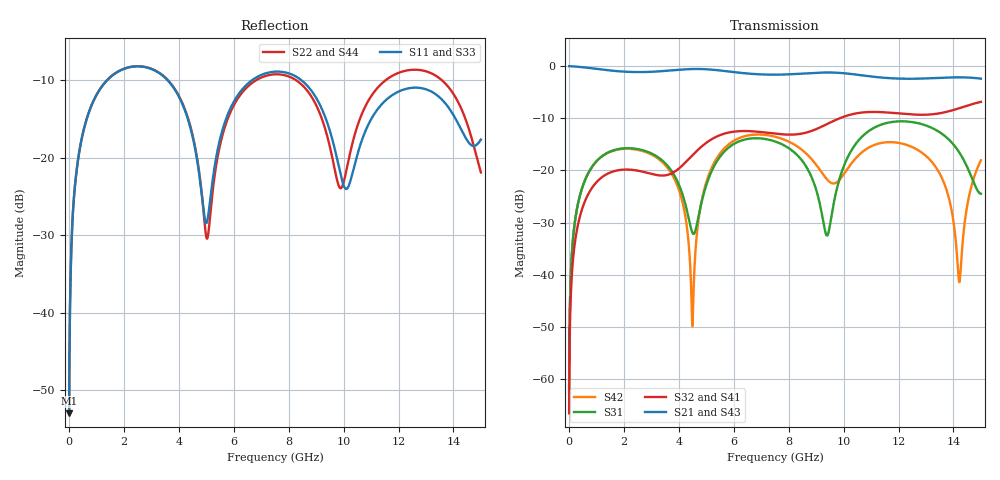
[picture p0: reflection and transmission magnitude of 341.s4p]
! Created with skrf 1.8.0 (http://scikit-rf.org).
# GHz S RI R 50.0
!freq ReS11 ImS11 ReS12 ImS12 ReS13 ImS13
! ReS14 ImS14
! ReS21 ImS21 ReS22 ImS22 ReS23 ImS23
! ReS24 ImS24
! ReS31 ImS31 ReS32 ImS32 ReS33 ImS33
! ReS34 ImS34
! ReS41 ImS41 ReS42 ImS42 ReS43 ImS43
! ReS44 ImS44
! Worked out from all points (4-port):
!   2499 points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, 5 MHz to 15 GHz, reference 50 ohm
!   strongest paths, dB at 5 MHz, 3.476 GHz, 7.19 GHz, 11.1 GHz, 15 GHz:
!     S21: 0.0, -0.9, -1.6, -2.0, -2.4
!     S43: 0.0, -0.9, -1.6, -2.0, -2.4
!     S32: -66.5, -21.0, -12.8, -8.8, -6.9
!     S41: -66.5, -21.0, -12.8, -8.8, -6.9
!     S31: -62.5, -18.5, -14.0, -11.9, -24.5
!     S42: -62.5, -18.8, -13.2, -15.2, -18.1
!   lowest |S11| = -53.0 dB at 5 MHz (marker M1), VSWR 1.00, Z = 50.2 + j0.136 ohm
!   |S11| at or under -10 dB: start of sweep to 1.38 GHz; 3.599 GHz to 6.654 GHz (3.055 GHz wide, 59.6 % of centre); 8.477 GHz to end of sweep
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0.005  0.00179 0.00135  0.9982 -0.00348  9.16e-05 0.000746  -8.87e-05 -0.000462
       0.9982 -0.00348  0.00179 0.00135  -8.87e-05 -0.000462  9.16e-05 0.000746
       9.16e-05 0.000746  -8.87e-05 -0.000462  0.00179 0.00135  0.9982 -0.00348
       -8.87e-05 -0.000462  9.16e-05 0.000746  0.9982 -0.00348  0.00179 0.00135
1.519383  0.2886 0.1678  0.5038 -0.7536  0.1422 0.0555  -0.0959 0.0017
          0.5038 -0.7536  0.2898 0.1669  -0.096 0.00174  0.1389 0.0605
          0.1422 0.0555  -0.096 0.00174  0.2886 0.1678  0.5038 -0.7536
          -0.0959 0.0017  0.1389 0.0605  0.5038 -0.7536  0.2898 0.1668
4.495455  0.0738 -0.1173  -0.8581 -0.3766  -0.0225 -0.0114  -0.0521 0.1299
          -0.8581 -0.3766  0.0685 -0.1243  -0.0519 0.13  0.00311 0.000795
          -0.0225 -0.0114  -0.0519 0.13  0.0724 -0.1167  -0.8584 -0.3763
          -0.0521 0.1299  0.00311 0.000795  -0.8584 -0.3763  0.069 -0.1229
5.802418  0.1374 0.1378  -0.8033 0.3797  0.1028 0.1286  0.1311 0.1889
          -0.8033 0.3797  0.1242 0.1346  0.1317 0.189  0.1332 0.1159
          0.1028 0.1286  0.1317 0.189  0.1364 0.1404  -0.8028 0.38
          0.1311 0.1889  0.1332 0.1159  -0.8028 0.38  0.1271 0.1354
10.10421  0.0626 -0.00654  0.8438 0.1  0.0749 0.1014  0.0288 -0.3326
          0.8438 0.1  0.0709 0.0441  0.0271 -0.3327  -0.0519 0.0857
          0.0749 0.1014  0.0271 -0.3327  0.0621 -0.00929  0.8436 0.1019
          0.0288 -0.3326  -0.0519 0.0857  0.8436 0.1019  0.0722 0.0414
14.21217  0.1509 -0.0578  -0.5257 -0.5775  -0.054 -0.1388  -0.2844 0.2731
          -0.5257 -0.5775  0.1545 -0.1593  -0.2816 0.277  0.00773 0.00359
          -0.054 -0.1388  -0.2816 0.277  0.1591 -0.0537  -0.5221 -0.5794
          -0.2844 0.2731  0.00773 0.00359  -0.5221 -0.5794  0.1538 -0.1669
15  0.1255 0.0387  -0.7208 -0.2355  -0.0508 0.0315  -0.1354 0.4335
    -0.7208 -0.2355  0.0703 -0.0393  -0.1309 0.4347  0.0208 0.1232
    -0.0508 0.0315  -0.1309 0.4347  0.1321 0.037  -0.719 -0.2399
    -0.1354 0.4335  0.0208 0.1232  -0.719 -0.2399  0.0674 -0.0448
